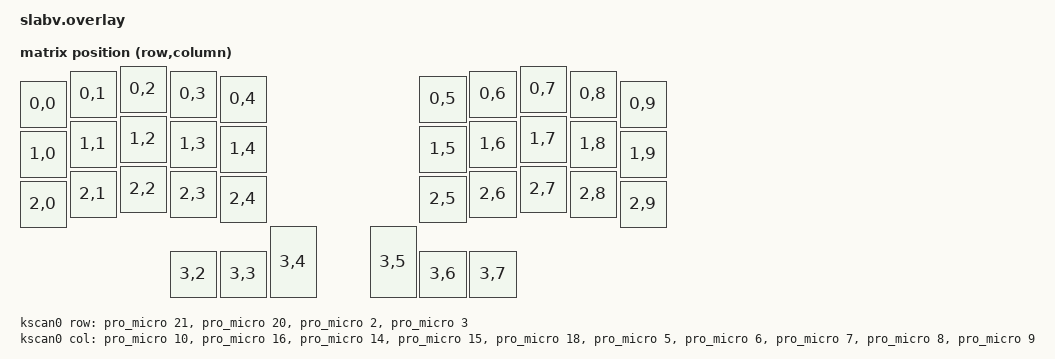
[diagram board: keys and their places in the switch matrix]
/*
 * slabV (brickbots/slabv): 36-key unibody, Pro Micro footprint.
 * Same matrix as the chocV in QMK: rows F4 F5 D1 D0,
 * cols B6 B2 B3 B1 F7 C6 D7 E6 B4 B5, diodes COL2ROW.
 * Thumbs are row 4, columns 3-8.
 */

#include <dt-bindings/zmk/matrix_transform.h>
#include <physical_layouts.dtsi>

/ {
    chosen {
        zmk,physical-layout = &default_layout;
    };

    kscan0: kscan {
        compatible = "zmk,kscan-gpio-matrix";
        diode-direction = "col2row";

        row-gpios
            = <&pro_micro 21 (GPIO_ACTIVE_HIGH | GPIO_PULL_DOWN)>  /* F4 */
            , <&pro_micro 20 (GPIO_ACTIVE_HIGH | GPIO_PULL_DOWN)>  /* F5 */
            , <&pro_micro 2  (GPIO_ACTIVE_HIGH | GPIO_PULL_DOWN)>  /* D1 */
            , <&pro_micro 3  (GPIO_ACTIVE_HIGH | GPIO_PULL_DOWN)>  /* D0 */
            ;

        col-gpios
            = <&pro_micro 10 GPIO_ACTIVE_HIGH>  /* B6 */
            , <&pro_micro 16 GPIO_ACTIVE_HIGH>  /* B2 */
            , <&pro_micro 14 GPIO_ACTIVE_HIGH>  /* B3 */
            , <&pro_micro 15 GPIO_ACTIVE_HIGH>  /* B1 */
            , <&pro_micro 18 GPIO_ACTIVE_HIGH>  /* F7 */
            , <&pro_micro 5  GPIO_ACTIVE_HIGH>  /* C6 */
            , <&pro_micro 6  GPIO_ACTIVE_HIGH>  /* D7 */
            , <&pro_micro 7  GPIO_ACTIVE_HIGH>  /* E6 */
            , <&pro_micro 8  GPIO_ACTIVE_HIGH>  /* B4 */
            , <&pro_micro 9  GPIO_ACTIVE_HIGH>  /* B5 */
            ;
    };

    default_transform: matrix_transform {
        compatible = "zmk,matrix-transform";
        rows = <4>;
        columns = <10>;
        map = <
            RC(0,0) RC(0,1) RC(0,2) RC(0,3) RC(0,4)   RC(0,5) RC(0,6) RC(0,7) RC(0,8) RC(0,9)
            RC(1,0) RC(1,1) RC(1,2) RC(1,3) RC(1,4)   RC(1,5) RC(1,6) RC(1,7) RC(1,8) RC(1,9)
            RC(2,0) RC(2,1) RC(2,2) RC(2,3) RC(2,4)   RC(2,5) RC(2,6) RC(2,7) RC(2,8) RC(2,9)
                            RC(3,2) RC(3,3) RC(3,4)   RC(3,5) RC(3,6) RC(3,7)
        >;
    };

    /* Key positions for ZMK Studio, from the chocV QMK layout (units x100). */
    default_layout: default_layout {
        compatible = "zmk,physical-layout";
        display-name = "Default";
        transform = <&default_transform>;
        kscan = <&kscan0>;
        keys  /*                 w   h    x    y  rot rx ry */
            = <&key_physical_attrs 100 100    0   30 0 0 0>
            , <&key_physical_attrs 100 100  100   10 0 0 0>
            , <&key_physical_attrs 100 100  200    0 0 0 0>
            , <&key_physical_attrs 100 100  300   10 0 0 0>
            , <&key_physical_attrs 100 100  400   20 0 0 0>
            , <&key_physical_attrs 100 100  800   20 0 0 0>
            , <&key_physical_attrs 100 100  900   10 0 0 0>
            , <&key_physical_attrs 100 100 1000    0 0 0 0>
            , <&key_physical_attrs 100 100 1100   10 0 0 0>
            , <&key_physical_attrs 100 100 1200   30 0 0 0>
            , <&key_physical_attrs 100 100    0  130 0 0 0>
            , <&key_physical_attrs 100 100  100  110 0 0 0>
            , <&key_physical_attrs 100 100  200  100 0 0 0>
            , <&key_physical_attrs 100 100  300  110 0 0 0>
            , <&key_physical_attrs 100 100  400  120 0 0 0>
            , <&key_physical_attrs 100 100  800  120 0 0 0>
            , <&key_physical_attrs 100 100  900  110 0 0 0>
            , <&key_physical_attrs 100 100 1000  100 0 0 0>
            , <&key_physical_attrs 100 100 1100  110 0 0 0>
            , <&key_physical_attrs 100 100 1200  130 0 0 0>
            , <&key_physical_attrs 100 100    0  230 0 0 0>
            , <&key_physical_attrs 100 100  100  210 0 0 0>
            , <&key_physical_attrs 100 100  200  200 0 0 0>
            , <&key_physical_attrs 100 100  300  210 0 0 0>
            , <&key_physical_attrs 100 100  400  220 0 0 0>
            , <&key_physical_attrs 100 100  800  220 0 0 0>
            , <&key_physical_attrs 100 100  900  210 0 0 0>
            , <&key_physical_attrs 100 100 1000  200 0 0 0>
            , <&key_physical_attrs 100 100 1100  210 0 0 0>
            , <&key_physical_attrs 100 100 1200  230 0 0 0>
            , <&key_physical_attrs 100 100  300  370 0 0 0>
            , <&key_physical_attrs 100 100  400  370 0 0 0>
            , <&key_physical_attrs 100 150  500  320 0 0 0>
            , <&key_physical_attrs 100 150  700  320 0 0 0>
            , <&key_physical_attrs 100 100  800  370 0 0 0>
            , <&key_physical_attrs 100 100  900  370 0 0 0>
            ;
    };
};
